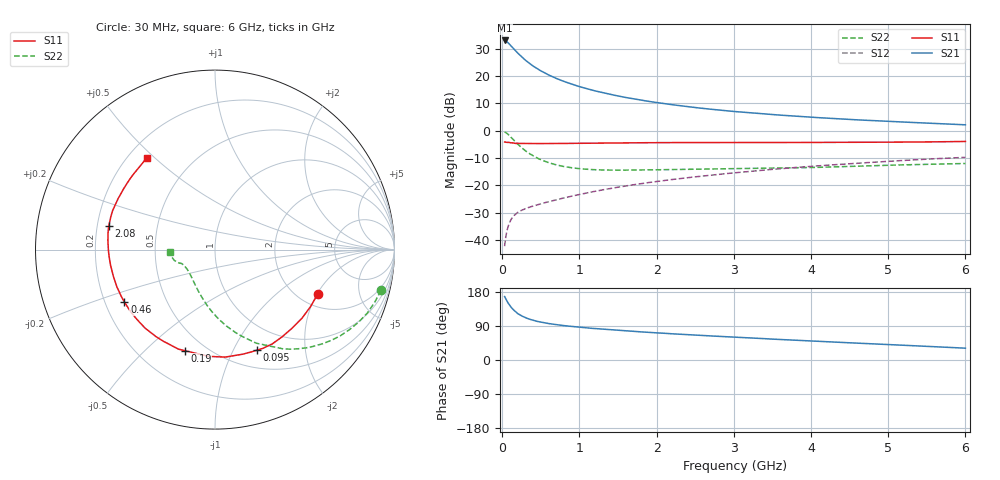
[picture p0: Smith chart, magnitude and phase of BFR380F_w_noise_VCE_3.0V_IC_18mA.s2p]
! Infineon Technologies  Discrete & RF Semiconductors
! BFR380F
! VCE =  3.0 V,  IC =  18 mA
! Common Emitter S-Parameters:  Nov 2015
# GHz  S  MA  R  50
!  f  S11  S21  S12  S22
! GHz  MAG  ANG  MAG  ANG  MAG  ANG  MAG  ANG
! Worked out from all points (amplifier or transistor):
!   206 points, 30 MHz to 6 GHz, reference 50 ohm
!   highest |S21| = 33.1 dB at 30 MHz (marker M1)
!   |S21| within 3 dB of that: start of sweep to 146.9 MHz
!   unconditionally stable (mu >= 1): 1.389 GHz to 5.079 GHz
!   at 200 MHz: K = 0.35, MSG = 29.2 dB, |S12| = -29.9 dB
!   at 1.56 GHz: K = 1.02, MAG = 15.6 dB, |S12| = -20.4 dB
!   at 6 GHz: K = 0.98, MSG = 6.0 dB, |S12| = -9.7 dB
!   lowest NFmin = 1.00 dB at 900 MHz
!   S11 on the Smith chart (normalised r, x): 30 MHz: 2.50, -2.03; 95 MHz: 0.70, -1.24; 190 MHz: 0.39, -0.67; 460 MHz: 0.28, -0.25; 2.08 GHz: 0.25, +0.10; 6 GHz: 0.27, +0.47
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0.03  0.6239 -23.4  45.1 167.4  0.0077 80.4  0.9526 -13.8
0.05  0.6172 -38.3  43.7 159.1  0.0125 75.4  0.9195 -22.6
0.07  0.6132 -52.6  41.43 152.1  0.0166 69.4  0.8728 -30.6
0.095  0.6073 -67.3  38.25 144.5  0.021 63.9  0.8083 -39.6
0.12  0.6005 -80.2  35.09 137.8  0.0245 59.7  0.7437 -47.5
0.14  0.5973 -89.2  32.71 133.3  0.0269 57.0  0.6946 -53.0
0.19  0.5877 -106.8  27.46 124.5  0.0312 52.4  0.5876 -63.8
0.2  0.5908 -110.2  26.5 122.5  0.032 51.7  0.569 -66.3
0.24  0.586 -119.7  23.38 117.8  0.0344 50.0  0.5053 -72.8
0.3  0.5859 -131.6  19.58 111.5  0.0375 48.7  0.4297 -81.6
0.36  0.5832 -139.8  16.81 107.2  0.0401 48.8  0.376 -88.5
0.46  0.5832 -149.9  13.51 101.6  0.0443 49.9  0.3135 -98.2
0.6  0.5847 -159.3  10.53 96.2  0.0502 52.4  0.2606 -108.9
0.7  0.5854 -164.1  9.089 93.2  0.0545 54.1  0.2373 -115.4
1.04  0.5904 -175.2  6.204 85.8  0.0701 58.9  0.1998 -131.6
1.42  0.5968 176.9  4.573 79.5  0.0886 62.0  0.1902 -143.1
2.02  0.6063 168.0  3.257 71.5  0.1188 64.0  0.1932 -151.9
2.08  0.6065 167.3  3.171 70.7  0.1219 64.1  0.1939 -152.4
3.1  0.6096 156.4  2.2 59.4  0.1749 63.8  0.2038 -157.9
4.1  0.6117 146.1  1.738 49.2  0.2284 60.9  0.2141 -159.7
5.1  0.6194 136.5  1.465 39.8  0.2809 57.1  0.2358 -166.0
6  0.6371 126.4  1.286 31.2  0.3261 52.3  0.2516 -176.9
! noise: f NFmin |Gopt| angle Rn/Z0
0.45  1.04  0.18  170  0.08
0.9  1  0.24  167  0.08
1.8  1.24  0.35  -178  0.07
1.9  1.31  0.36  -178  0.07
2.4  1.41  0.39  -167  0.08
3.5  2.01  0.48  -154  0.12
